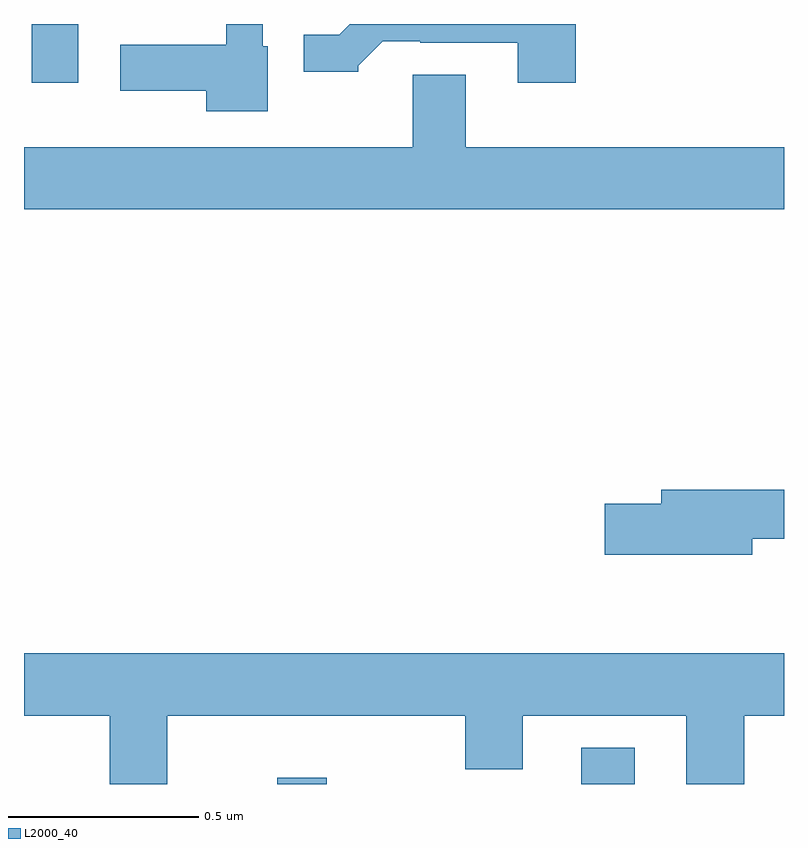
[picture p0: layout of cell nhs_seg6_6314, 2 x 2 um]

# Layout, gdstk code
import gdstk
lib = gdstk.Library(unit=1e-6, precision=1e-09)
def R(c, l, rs):  # rectangles x0, y0, x1, y1
    for r in rs: c.add(gdstk.rectangle(r[:2], r[2:], *l))
def P(c, l, *ps):  # polygons
    for p in ps: c.add(gdstk.Polygon(p, *l))
L2000_40 = (2000, 40)

nhs_seg6_6314 = lib.new_cell('nhs_seg6_6314')
R(nhs_seg6_6314, L2000_40, [(194.666,936.5,194.797,936.517), (195.467,936.5,195.607,936.595), (194.021,938.346,194.143,938.5)])
P(nhs_seg6_6314, L2000_40, [(194.641,938.442),(194.628,938.442),(194.628,938.5),(194.532,938.5),(194.532,938.446),(194.253,938.446),(194.253,938.324),(194.48,938.324),(194.48,938.27),(194.641,938.27)],
  [(195.452,938.5),(194.857,938.5),(194.829,938.472),(194.736,938.472),(194.736,938.375),(194.88,938.375),(194.88,938.39),(194.944,938.454),(195.043,938.454),(195.043,938.451),(195.299,938.451),(195.299,938.346),(195.452,938.346)],
  [(196,938.176),(195.163,938.176),(195.163,938.366),(195.023,938.366),(195.023,938.176),(194,938.176),(194,938.012),(196,938.012)],
  [(195.916,937.146),(196,937.146),(196,937.274),(195.677,937.274),(195.677,937.238),(195.528,937.238),(195.528,937.103),(195.916,937.103)],
  [(194.377,936.68),(195.161,936.68),(195.161,936.539),(195.313,936.539),(195.313,936.68),(195.743,936.68),(195.743,936.5),(195.896,936.5),(195.896,936.68),(196,936.68),(196,936.844),(194,936.844),(194,936.68),(194.225,936.68),(194.225,936.5),(194.377,936.5)])

lib.write_gds('nhs_seg6_6314.gds')
